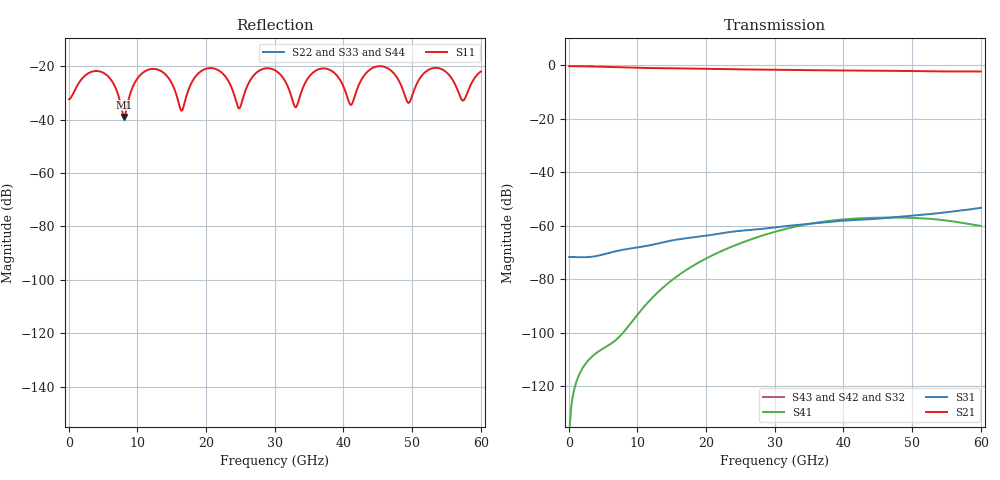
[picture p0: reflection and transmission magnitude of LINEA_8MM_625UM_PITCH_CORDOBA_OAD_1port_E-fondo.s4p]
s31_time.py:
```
"""Time-domain view of column 1 of the widened run's s4p (only port 1 driven): band-limited impulse
response (0-60 GHz, Hann window) of S21, NEXT = S31 and FEXT = S41. A coupled-line NEXT is spread
from 0 to 2 Td (Td = through delay); a wave born at A's far end and returning at n_g,b arrives as a
peak near Td (1 + n_g,b / 2.227)."""
import os, numpy as np, skrf
HERE = os.path.dirname(os.path.abspath(__file__))
n = skrf.Network(os.path.join(HERE, "LINEA_8MM_625UM_PITCH_CORDOBA_OAD_1port_E-fondo.s4p"))
f = n.f; df = f[1] - f[0]; assert abs(f[0]) < 1
w = np.hanning(2 * len(f))[len(f):]                     # one-sided Hann taper to 60 GHz
Nfft = 8192; t = np.arange(Nfft) / (Nfft * df) * 1e12  # ps
def imp(s):
    h = np.fft.irfft(s * w, Nfft); return h / np.abs(h).max()
for lab, k in (("S21", 1), ("NEXT S31", 2), ("FEXT S41", 3)):
    h = imp(n.s[:, k, 0]); m = t < 260
    pk = np.argsort(-np.abs(h[m]))
    peaks = []
    for i in pk:
        if all(abs(t[i] - t[j]) > 6 for j in peaks): peaks.append(i)
        if len(peaks) == 4: break
    env = lambda a, b: np.sqrt(np.mean(h[(t >= a) & (t < b)] ** 2))
    print(f"{lab:9s} peaks (ps, rel.): " + ", ".join(f"{t[i]:.1f} ({abs(h[i]):.2f})" for i in sorted(peaks)) +
          f" | rms 0-50 ps {env(0,50):.3f}, 50-100 {env(50,100):.3f}, 100-140 {env(100,140):.3f}, 140-250 {env(140,250):.3f}")
print("Td (S21 group delay) = 59.5 ps; far-end-born return at n_g 2.43-2.55 would arrive at 124-128 ps")
```
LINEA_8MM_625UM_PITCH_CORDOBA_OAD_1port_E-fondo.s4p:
! TOUCHSTONE file generated by CST MICROWAVE STUDIO
! Date and time: Mon Nov  2 09:16:39 2026
! Project name: LINEA_8MM_625UM_PITCH_CORDOBA_OAD_1port_E-fondo.cst
! Parameters = {CHANNEL_PITCH=0.625; GAP=0.00415; L=8; L1=0.02; L2=0.086; L3=0.066; NCELL=1; PITCH=0.18; START_POSITION=0.13; W1=0.003; W2=0.004; W3=0.009; WG=0.04985; gap_oxr=0.00125; linbo3_thickness=0.0002; mtx=0.002; oxiDinE=0.0014; w=0.185; ws=0.035}
! Header version: 2024
! Port assignment regex: !\s*Touchstone port\s*([0-9]+)\s*=\s*(CST MWS port|CST DES external port|CST DES block port)\s*(.+)\s* \(\"(.*)\"\)(\s*mode\s*([0-9]+))?.*
! Touchstone port assignment:
! Touchstone port 1 = CST MWS port 1 ("")
! Touchstone port 2 = CST MWS port 2 ("")
! Touchstone port 3 = CST MWS port 3 ("")
! Touchstone port 4 = CST MWS port 4 ("")
# GHz S MA R 50
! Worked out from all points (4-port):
!   1000 points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, 60 MHz to 60 GHz, reference 50 ohm
!   strongest paths, dB at 60 MHz, 15.06 GHz, 30.06 GHz, 45.06 GHz, 60 GHz:
!     S21: -0.3, -1.1, -1.6, -1.9, -2.2
!     S31: -71.7, -65.5, -60.6, -57.4, -53.3
!     S41: -141.2, -80.3, -62.2, -57.0, -60.1
!     S43: -, -, -, -, -
!     S42: -, -, -, -, -
!     S32: -, -, -, -, -
!   lowest |S11| = -39.0 dB at 8.04 GHz (marker M1), VSWR 1.02, Z = 48.9 - j0.281 ohm
!   |S11| at or under -10 dB: start of sweep to end of sweep
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0.06  0.02398 -5.6  0 0.0  0 0.0  0 0.0
      0.9712 -1.3  0 0.0  0 0.0  0 0.0
      0.0002594 -2.9  0 0.0  0 0.0  0 0.0
      8.689e-08 -133.0  0 0.0  0 0.0  0 0.0
8.04  0.01123 -165.2  0 0.0  0 0.0  0 0.0
      0.9186 -176.2  0 0.0  0 0.0  0 0.0
      0.0003574 -31.1  0 0.0  0 0.0  0 0.0
      1.037e-05 -164.1  0 0.0  0 0.0  0 0.0
60  0.07954 -126.3  0 0.0  0 0.0  0 0.0
    0.7724 151.6  0 0.0  0 0.0  0 0.0
    0.002161 143.7  0 0.0  0 0.0  0 0.0
    0.0009905 71.0  0 0.0  0 0.0  0 0.0
